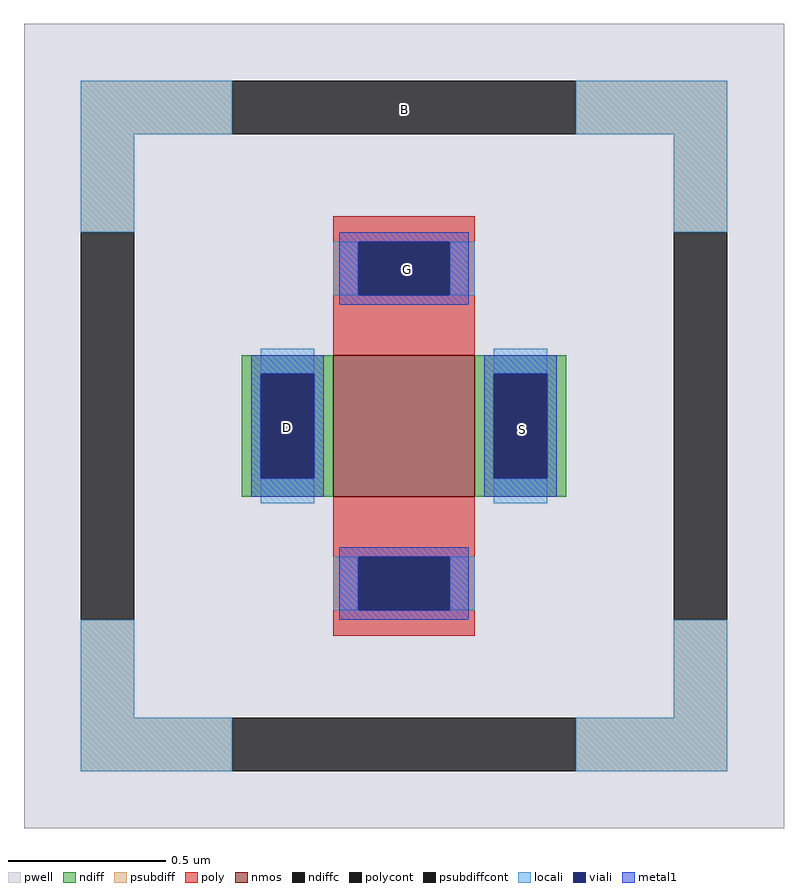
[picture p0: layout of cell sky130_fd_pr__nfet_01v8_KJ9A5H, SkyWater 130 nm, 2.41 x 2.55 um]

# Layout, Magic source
magic
tech sky130A
magscale 1 2
<< pwell >>
rect -241 -255 241 255
<< nmos >>
rect -45 -45 45 45
<< ndiff >>
rect -103 33 -45 45
rect -103 -33 -91 33
rect -57 -33 -45 33
rect -103 -45 -45 -33
rect 45 33 103 45
rect 45 -33 57 33
rect 91 -33 103 33
rect 45 -45 103 -33
<< ndiffc >>
rect -91 -33 -57 33
rect 57 -33 91 33
<< psubdiff >>
rect -205 185 -109 219
rect 109 185 205 219
rect -205 123 -171 185
rect 171 123 205 185
rect -205 -185 -171 -123
rect 171 -185 205 -123
rect -205 -219 -109 -185
rect 109 -219 205 -185
<< psubdiffcont >>
rect -109 185 109 219
rect -205 -123 -171 123
rect 171 -123 205 123
rect -109 -219 109 -185
<< poly >>
rect -45 117 45 133
rect -45 83 -29 117
rect 29 83 45 117
rect -45 45 45 83
rect -45 -83 45 -45
rect -45 -117 -29 -83
rect 29 -117 45 -83
rect -45 -133 45 -117
<< polycont >>
rect -29 83 29 117
rect -29 -117 29 -83
<< locali >>
rect -205 185 -109 219
rect 109 185 205 219
rect -205 123 -171 185
rect 171 123 205 185
rect -45 83 -29 117
rect 29 83 45 117
rect -91 33 -57 49
rect -91 -49 -57 -33
rect 57 33 91 49
rect 57 -49 91 -33
rect -45 -117 -29 -83
rect 29 -117 45 -83
rect -205 -185 -171 -123
rect 171 -185 205 -123
rect -205 -219 -109 -185
rect 109 -219 205 -185
<< viali >>
rect -29 83 29 117
rect -91 -33 -57 33
rect 57 -33 91 33
rect -29 -117 29 -83
<< metal1 >>
rect -41 117 41 123
rect -41 83 -29 117
rect 29 83 41 117
rect -41 77 41 83
rect -97 33 -51 45
rect -97 -33 -91 33
rect -57 -33 -51 33
rect -97 -45 -51 -33
rect 51 33 97 45
rect 51 -33 57 33
rect 91 -33 97 33
rect 51 -45 97 -33
rect -41 -83 41 -77
rect -41 -117 -29 -83
rect 29 -117 41 -83
rect -41 -123 41 -117
<< labels >>
flabel locali s 0 201 0 201 0 FreeSans 480 0 0 0 B
port 4 nsew
flabel metal1 s 2 99 2 99 0 FreeSans 480 0 0 0 G
port 5 nsew
flabel metal1 s -74 -1 -74 -1 0 FreeSans 480 0 0 0 D
port 6 nsew
flabel metal1 s 75 -2 75 -2 0 FreeSans 480 0 0 0 S
port 7 nsew
<< properties >>
string FIXED_BBOX -188 -202 188 202
string gencell sky130_fd_pr__nfet_01v8
string library sky130
string parameters w 0.45 l 0.45 m 1 nf 1 diffcov 100 polycov 100 guard 1 glc 1 grc 1 gtc 1 gbc 1 tbcov 100 rlcov 100 topc 1 botc 1 poverlap 0 doverlap 1 lmin 0.15 wmin 0.42 compatible {sky130_fd_pr__nfet_01v8 sky130_fd_pr__nfet_01v8_lvt  sky130_fd_bs_flash__special_sonosfet_star  sky130_fd_pr__nfet_g5v0d10v5 sky130_fd_pr__nfet_05v0_nvt  sky130_fd_pr__nfet_03v3_nvt} full_metal 1 viasrc 100 viadrn 100 viagate 100 viagb 0 viagr 0 viagl 0 viagt 0
<< end >>
